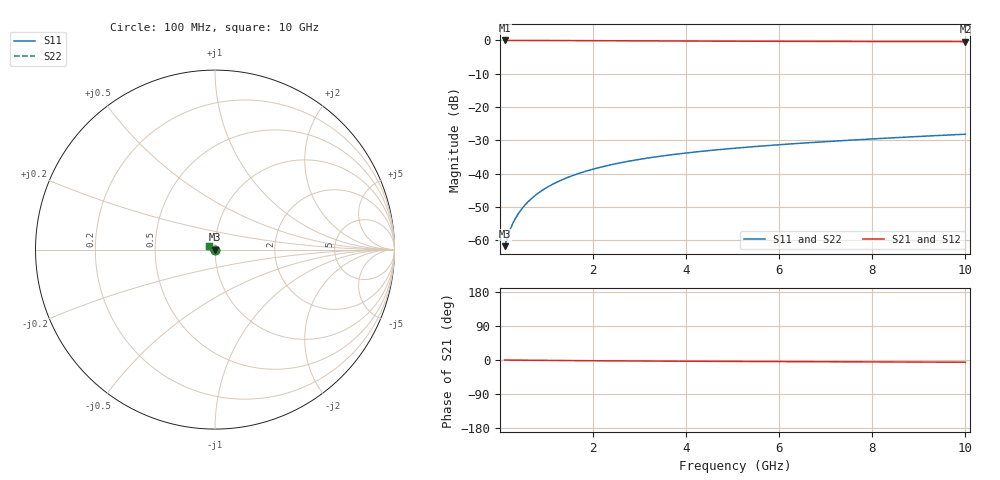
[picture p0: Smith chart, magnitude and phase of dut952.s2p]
! Touchstone file exported from HFSS 2024.1.0
!  File:  C:/UserFiles/LocalFiles/RDL_TSV_Batchsim/temp_TSV1_952_1779949124.aedt
!  Generated:  02:28:30 PM May 28, 2026
!  Design:  TSV1
!  Project:  temp_TSV1_952_1779949124
!  Setup:  Setup1
!  Solution:  Sweep
! Variables:
!  dtsv = 5.32um
!  hbump = 3um
!  htsv = 90.09um
!  lrdl = 252.1521522um
!  p = 40
!  p1 = 42.41um
!  t = 500um
!  trdl = 3um
!  wrdl = 24.89489489um
# GHz S MA R 50.000000
! Terminal data exported
! Port[1] = TSV22_T1
! Port[2] = TSV22_T2
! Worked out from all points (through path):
!   100 points, 100 MHz to 10 GHz, reference 50 ohm
!   highest |S21| = 0.00 dB at 100 MHz (marker M1); lowest = -0.4 dB at 10 GHz (marker M2)
!   lowest |S11| = -61.8 dB at 100 MHz (marker M3), VSWR 1.00, Z = 50.1 - j0.0626 ohm
!   |S11| at or under -10 dB: start of sweep to end of sweep
!   |S22| runs from -61.8 to -28.2 dB; largest |S21 - S12| = 3.3e-15
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0.1  0.0008093 -50.6  0.9994 -0.1  0.9994 -0.1  0.0008093 -50.6
! Gamma 0 0 0 0
! Port Impedance 50 0 50 0
0.2  0.001346 -70.2  0.9994 -0.2  0.9994 -0.2  0.001346 -70.2
0.3  0.001932 -79.5  0.9992 -0.3  0.9992 -0.3  0.001932 -79.5
0.4  0.002533 -85.4  0.9991 -0.4  0.9991 -0.4  0.002533 -85.4
0.5  0.003137 -89.8  0.9989 -0.5  0.9989 -0.5  0.003137 -89.8
0.6  0.003741 -93.4  0.9987 -0.6  0.9987 -0.6  0.003741 -93.4
0.7  0.004343 -96.5  0.9984 -0.7  0.9984 -0.7  0.004343 -96.5
0.8  0.004941 -99.3  0.9981 -0.8  0.9981 -0.8  0.004941 -99.3
0.9  0.005535 -101.9  0.9977 -0.9  0.9977 -0.9  0.005535 -101.9
1.1  0.006707 -106.7  0.9969 -1.1  0.9969 -1.1  0.006707 -106.7
1.4  0.008416 -113.3  0.9955 -1.4  0.9955 -1.4  0.008416 -113.3
1.6  0.009519 -117.4  0.9945 -1.6  0.9945 -1.6  0.009519 -117.4
1.8  0.01059 -121.3  0.9933 -1.8  0.9933 -1.8  0.01059 -121.3
2.1  0.01213 -126.8  0.9915 -2.0  0.9915 -2.0  0.01213 -126.8
2.5  0.01408 -133.8  0.989 -2.3  0.989 -2.3  0.01408 -133.8
2.9  0.01589 -140.3  0.9864 -2.6  0.9864 -2.6  0.01589 -140.3
3.4  0.018 -147.8  0.9833 -2.9  0.9833 -2.9  0.018 -147.8
4.2  0.02106 -158.6  0.9786 -3.4  0.9786 -3.4  0.02106 -158.6
5.1  0.02418 -169.1  0.9741 -3.8  0.9741 -3.8  0.02418 -169.1
6.7  0.02922 175.4  0.9678 -4.5  0.9678 -4.5  0.02922 175.4
8.4  0.03428 162.6  0.9631 -5.2  0.9631 -5.2  0.03428 162.6
10  0.03897 152.8  0.9599 -5.9  0.9599 -5.9  0.03897 152.8
